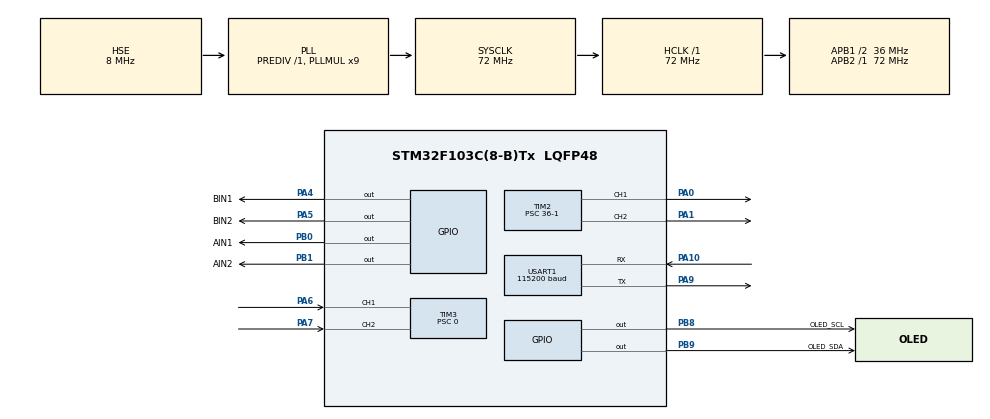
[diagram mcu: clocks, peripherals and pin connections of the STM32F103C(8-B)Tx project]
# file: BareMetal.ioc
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Dma.Request0=USART1_TX
Dma.USART1_TX.0.Direction=DMA_MEMORY_TO_PERIPH
Dma.USART1_TX.0.Instance=DMA1_Channel4
Dma.USART1_TX.0.MemDataAlignment=DMA_MDATAALIGN_BYTE
Dma.USART1_TX.0.MemInc=DMA_MINC_ENABLE
Dma.USART1_TX.0.Mode=DMA_NORMAL
Dma.USART1_TX.0.PeriphDataAlignment=DMA_PDATAALIGN_BYTE
Dma.USART1_TX.0.PeriphInc=DMA_PINC_DISABLE
Dma.USART1_TX.0.Priority=DMA_PRIORITY_LOW
Mcu.Family=STM32F1
Mcu.Name=STM32F103C(8-B)Tx
Mcu.Package=LQFP48
NVIC.DMA1_Channel4_IRQn=true\:0\:0\:false\:false\:true\:false\:true\:true
NVIC.PriorityGroup=NVIC_PRIORITYGROUP_4
NVIC.TIM4_IRQn=true\:0\:0\:false\:false\:true\:false\:true\:true
NVIC.USART1_IRQn=true\:0\:0\:false\:false\:true\:true\:true\:true
PA0-WKUP.Signal=S_TIM2_CH1_ETR
PA1.Signal=S_TIM2_CH2
PA10.Mode=Asynchronous
PA10.Signal=USART1_RX
PA13.Mode=Serial_Wire
PA13.Signal=SYS_JTMS-SWDIO
PA14.Mode=Serial_Wire
PA14.Signal=SYS_JTCK-SWCLK
PA4.GPIO_Label=BIN1
PA4.PinState=GPIO_PIN_RESET
PA4.Signal=GPIO_Output
PA5.GPIO_Label=BIN2
PA5.PinState=GPIO_PIN_RESET
PA5.Signal=GPIO_Output
PA6.Signal=S_TIM3_CH1
PA7.Signal=S_TIM3_CH2
PA9.Mode=Asynchronous
PA9.Signal=USART1_TX
PB0.GPIO_Label=AIN1
PB0.PinState=GPIO_PIN_RESET
PB0.Signal=GPIO_Output
PB1.GPIO_Label=AIN2
PB1.PinState=GPIO_PIN_RESET
PB1.Signal=GPIO_Output
PB8.GPIO_Label=OLED_SCL
PB8.PinState=GPIO_PIN_SET
PB8.Signal=GPIO_Output
PB9.GPIO_Label=OLED_SDA
PB9.PinState=GPIO_PIN_SET
PB9.Signal=GPIO_Output
PD0-OSC_IN.Mode=HSE-External-Oscillator
PD0-OSC_IN.Signal=RCC_OSC_IN
PD1-OSC_OUT.Mode=HSE-External-Oscillator
PD1-OSC_OUT.Signal=RCC_OSC_OUT
ProjectManager.HeapSize=0x200
ProjectManager.StackSize=0x400
ProjectManager.TargetToolchain=MDK-ARM V5.32
RCC.AHBFreq_Value=72000000
RCC.APB1CLKDivider=RCC_HCLK_DIV2
RCC.APB1Freq_Value=36000000
RCC.APB1TimFreq_Value=72000000
RCC.APB2Freq_Value=72000000
RCC.APB2TimFreq_Value=72000000
RCC.HCLKFreq_Value=72000000
RCC.PLLMUL=RCC_PLL_MUL9
RCC.PLLSourceVirtual=RCC_PLLSOURCE_HSE
RCC.SYSCLKFreq_VALUE=72000000
RCC.SYSCLKSource=RCC_SYSCLKSOURCE_PLLCLK
RCC.USBFreq_Value=72000000
SH.S_TIM2_CH1_ETR.0=TIM2_CH1,PWM Generation1 CH1
SH.S_TIM2_CH2.0=TIM2_CH2,PWM Generation2 CH2
SH.S_TIM3_CH1.0=TIM3_CH1,Encoder_Interface
SH.S_TIM3_CH2.0=TIM3_CH2,Encoder_Interface
TIM2.AutoReloadPreload=TIM_AUTORELOAD_PRELOAD_ENABLE
TIM2.Channel-PWM\ Generation1\ CH1=TIM_CHANNEL_1
TIM2.Channel-PWM\ Generation2\ CH2=TIM_CHANNEL_2
TIM2.OCMode_PWM-PWM\ Generation1\ CH1=TIM_OCMODE_PWM1
TIM2.OCMode_PWM-PWM\ Generation2\ CH2=TIM_OCMODE_PWM1
TIM2.Period=200-1
TIM2.Prescaler=36-1
TIM2.Pulse-PWM\ Generation1\ CH1=0
TIM2.Pulse-PWM\ Generation2\ CH2=0
TIM3.ClockDivision=TIM_CLOCKDIVISION_DIV1
TIM3.EncoderMode=TIM_ENCODERMODE_TI12
TIM3.Period=65535
TIM3.Prescaler=0
TIM4.AutoReloadPreload=TIM_AUTORELOAD_PRELOAD_DISABLE
TIM4.ClockDivision=TIM_CLOCKDIVISION_DIV1
TIM4.Period=1000-1
TIM4.Prescaler=72-1
USART1.BaudRate=115200
USART1.VirtualMode=VM_ASYNC
VP_TIM2_VS_ClockSourceINT.Mode=Internal
VP_TIM4_VS_ClockSourceINT.Mode=Internal
board=custom

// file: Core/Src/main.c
/* USER CODE BEGIN Header */
/**
  ******************************************************************************
  * @file           : main.c
  * @brief          : Main program body
  ******************************************************************************
  * @attention
  * 项目: 裸机任务调度框架 (CubeMX版)
  * 功能: 编码器读取 + 电机PID速度闭环 + OLED显示 + VOFA+调参
  ******************************************************************************
  */
/* USER CODE END Header */
#include "main.h"

/* USER CODE BEGIN Includes */
#include "sys.h"
#include "encoder.h"
#include "pid_demo.h"
#include "uart_vofa.h"
#include "motor.h"
#include "OLED_IIC_Config.h"
#include "OLED_Function.h"
#include "MyDelay.h"
/* USER CODE END Includes */

TIM_HandleTypeDef htim2;
TIM_HandleTypeDef htim3;
TIM_HandleTypeDef htim4;

UART_HandleTypeDef huart1;
DMA_HandleTypeDef hdma_usart1_tx;

void SystemClock_Config(void);
static void MX_GPIO_Init(void);
static void MX_DMA_Init(void);
static void MX_TIM2_Init(void);
static void MX_TIM3_Init(void);
static void MX_TIM4_Init(void);
static void MX_USART1_UART_Init(void);
/* USER CODE BEGIN PFP */
void HAL_TIM_MspPostInit(TIM_HandleTypeDef* htim);  /* stm32f1xx_hal_msp.c 中定义 */
/* USER CODE END PFP */

int main(void)
{

  /* MCU Configuration--------------------------------------------------------*/

  /* Reset of all peripherals, Initializes the Flash interface and the Systick. */
  HAL_Init();

  /* Configure the system clock */
  SystemClock_Config();

  /* Initialize all configured peripherals */
  MX_GPIO_Init();
  MX_DMA_Init();
  MX_TIM2_Init();
  MX_TIM3_Init();
  MX_TIM4_Init();
  MX_USART1_UART_Init();
  /* USER CODE BEGIN 2 */

  /* 启动 PWM 输出 */
  HAL_TIM_PWM_Start(&htim2, TIM_CHANNEL_1);
  HAL_TIM_PWM_Start(&htim2, TIM_CHANNEL_2);

  /* 启动编码器 */
  HAL_TIM_Encoder_Start(&htim3, TIM_CHANNEL_ALL);
  __HAL_TIM_SET_COUNTER(&htim3, 0);

  /* 启动任务调度定时器中断 */
  HAL_TIM_Base_Start_IT(&htim4);

  /* 系统初始化（应用层：PID/VOFA/OLED） */
  SysInit();

  /* USER CODE END 2 */

  /* Infinite loop */
  /* USER CODE BEGIN WHILE */
  SysRun();  /* 任务调度死循环（内部 while(1)） */
  while (1)
  {
    /* USER CODE END WHILE */

  }
}

void SystemClock_Config(void)
{
  RCC_OscInitTypeDef RCC_OscInitStruct = {0};
  RCC_ClkInitTypeDef RCC_ClkInitStruct = {0};

  /** Initializes the RCC Oscillators according to the specified parameters
  * in the RCC_OscInitTypeDef structure.
  */
  RCC_OscInitStruct.OscillatorType = RCC_OSCILLATORTYPE_HSE;
  RCC_OscInitStruct.HSEState = RCC_HSE_ON;
  RCC_OscInitStruct.HSEPredivValue = RCC_HSE_PREDIV_DIV1;
  RCC_OscInitStruct.HSIState = RCC_HSI_ON;
  RCC_OscInitStruct.PLL.PLLState = RCC_PLL_ON;
  RCC_OscInitStruct.PLL.PLLSource = RCC_PLLSOURCE_HSE;
  RCC_OscInitStruct.PLL.PLLMUL = RCC_PLL_MUL9;
  if (HAL_RCC_OscConfig(&RCC_OscInitStruct) != HAL_OK)
  {
    Error_Handler();
  }

  /** Initializes the CPU, AHB and APB buses clocks
  */
  RCC_ClkInitStruct.ClockType = RCC_CLOCKTYPE_HCLK|RCC_CLOCKTYPE_SYSCLK
                              |RCC_CLOCKTYPE_PCLK1|RCC_CLOCKTYPE_PCLK2;
  RCC_ClkInitStruct.SYSCLKSource = RCC_SYSCLKSOURCE_PLLCLK;
  RCC_ClkInitStruct.AHBCLKDivider = RCC_SYSCLK_DIV1;
  RCC_ClkInitStruct.APB1CLKDivider = RCC_HCLK_DIV2;
  RCC_ClkInitStruct.APB2CLKDivider = RCC_HCLK_DIV1;

  if (HAL_RCC_ClockConfig(&RCC_ClkInitStruct, FLASH_LATENCY_2) != HAL_OK)
  {
    Error_Handler();
  }
}

static void MX_TIM2_Init(void)
{

  TIM_ClockConfigTypeDef sClockSourceConfig = {0};
  TIM_MasterConfigTypeDef sMasterConfig = {0};
  TIM_OC_InitTypeDef sConfigOC = {0};

  htim2.Instance = TIM2;
  htim2.Init.Prescaler = 1-1;        // 72MHz / 1 / 7200 = 10kHz PWM
  htim2.Init.CounterMode = TIM_COUNTERMODE_UP;
  htim2.Init.Period = 7200-1;        // ARR=7199，7200级分辨率，低速更精细
  htim2.Init.ClockDivision = TIM_CLOCKDIVISION_DIV1;
  htim2.Init.AutoReloadPreload = TIM_AUTORELOAD_PRELOAD_ENABLE;
  if (HAL_TIM_Base_Init(&htim2) != HAL_OK)
  {
    Error_Handler();
  }
  sClockSourceConfig.ClockSource = TIM_CLOCKSOURCE_INTERNAL;
  if (HAL_TIM_ConfigClockSource(&htim2, &sClockSourceConfig) != HAL_OK)
  {
    Error_Handler();
  }
  if (HAL_TIM_PWM_Init(&htim2) != HAL_OK)
  {
    Error_Handler();
  }
  sMasterConfig.MasterOutputTrigger = TIM_TRGO_RESET;
  sMasterConfig.MasterSlaveMode = TIM_MASTERSLAVEMODE_DISABLE;
  if (HAL_TIMEx_MasterConfigSynchronization(&htim2, &sMasterConfig) != HAL_OK)
  {
    Error_Handler();
  }
  sConfigOC.OCMode = TIM_OCMODE_PWM1;
  sConfigOC.Pulse = 0;
  sConfigOC.OCPolarity = TIM_OCPOLARITY_HIGH;
  sConfigOC.OCFastMode = TIM_OCFAST_DISABLE;
  if (HAL_TIM_PWM_ConfigChannel(&htim2, &sConfigOC, TIM_CHANNEL_1) != HAL_OK)
  {
    Error_Handler();
  }
  if (HAL_TIM_PWM_ConfigChannel(&htim2, &sConfigOC, TIM_CHANNEL_2) != HAL_OK)
  {
    Error_Handler();
  }
  HAL_TIM_MspPostInit(&htim2);

}

static void MX_TIM3_Init(void)
{

  TIM_Encoder_InitTypeDef sConfig = {0};
  TIM_MasterConfigTypeDef sMasterConfig = {0};

  htim3.Instance = TIM3;
  htim3.Init.Prescaler = 0;
  htim3.Init.CounterMode = TIM_COUNTERMODE_UP;
  htim3.Init.Period = 65535;
  htim3.Init.ClockDivision = TIM_CLOCKDIVISION_DIV1;
  htim3.Init.AutoReloadPreload = TIM_AUTORELOAD_PRELOAD_DISABLE;
  sConfig.EncoderMode = TIM_ENCODERMODE_TI12;
  sConfig.IC1Polarity = TIM_ICPOLARITY_RISING;
  sConfig.IC1Selection = TIM_ICSELECTION_DIRECTTI;
  sConfig.IC1Prescaler = TIM_ICPSC_DIV1;
  sConfig.IC1Filter = 0;
  sConfig.IC2Polarity = TIM_ICPOLARITY_RISING;
  sConfig.IC2Selection = TIM_ICSELECTION_DIRECTTI;
  sConfig.IC2Prescaler = TIM_ICPSC_DIV1;
  sConfig.IC2Filter = 0;
  if (HAL_TIM_Encoder_Init(&htim3, &sConfig) != HAL_OK)
  {
    Error_Handler();
  }
  sMasterConfig.MasterOutputTrigger = TIM_TRGO_RESET;
  sMasterConfig.MasterSlaveMode = TIM_MASTERSLAVEMODE_DISABLE;
  if (HAL_TIMEx_MasterConfigSynchronization(&htim3, &sMasterConfig) != HAL_OK)
  {
    Error_Handler();
  }

}

static void MX_TIM4_Init(void)
{

  TIM_ClockConfigTypeDef sClockSourceConfig = {0};
  TIM_MasterConfigTypeDef sMasterConfig = {0};

  htim4.Instance = TIM4;
  htim4.Init.Prescaler = 72-1;
  htim4.Init.CounterMode = TIM_COUNTERMODE_UP;
  htim4.Init.Period = 1000-1;
  htim4.Init.ClockDivision = TIM_CLOCKDIVISION_DIV1;
  htim4.Init.AutoReloadPreload = TIM_AUTORELOAD_PRELOAD_DISABLE;
  if (HAL_TIM_Base_Init(&htim4) != HAL_OK)
  {
    Error_Handler();
  }
  sClockSourceConfig.ClockSource = TIM_CLOCKSOURCE_INTERNAL;
  if (HAL_TIM_ConfigClockSource(&htim4, &sClockSourceConfig) != HAL_OK)
  {
    Error_Handler();
  }
  sMasterConfig.MasterOutputTrigger = TIM_TRGO_RESET;
  sMasterConfig.MasterSlaveMode = TIM_MASTERSLAVEMODE_DISABLE;
  if (HAL_TIMEx_MasterConfigSynchronization(&htim4, &sMasterConfig) != HAL_OK)
  {
    Error_Handler();
  }

}

static void MX_USART1_UART_Init(void)
{

  huart1.Instance = USART1;
  huart1.Init.BaudRate = 115200;
  huart1.Init.WordLength = UART_WORDLENGTH_8B;
  huart1.Init.StopBits = UART_STOPBITS_1;
  huart1.Init.Parity = UART_PARITY_NONE;
  huart1.Init.Mode = UART_MODE_TX_RX;
  huart1.Init.HwFlowCtl = UART_HWCONTROL_NONE;
  huart1.Init.OverSampling = UART_OVERSAMPLING_16;
  if (HAL_UART_Init(&huart1) != HAL_OK)
  {
    Error_Handler();
  }

}

static void MX_DMA_Init(void)
{

  /* DMA controller clock enable */
  __HAL_RCC_DMA1_CLK_ENABLE();

  /* DMA interrupt init */
  /* DMA1_Channel4_IRQn interrupt configuration */
  HAL_NVIC_SetPriority(DMA1_Channel4_IRQn, 0, 0);
  HAL_NVIC_EnableIRQ(DMA1_Channel4_IRQn);

}

static void MX_GPIO_Init(void)
{
  GPIO_InitTypeDef GPIO_InitStruct = {0};

  /* GPIO Ports Clock Enable */
  __HAL_RCC_GPIOD_CLK_ENABLE();
  __HAL_RCC_GPIOA_CLK_ENABLE();
  __HAL_RCC_GPIOB_CLK_ENABLE();

  /*Configure GPIO pin Output Level */
  HAL_GPIO_WritePin(GPIOA, BIN1_Pin|BIN2_Pin, GPIO_PIN_RESET);

  /*Configure GPIO pin Output Level */
  HAL_GPIO_WritePin(GPIOB, AIN1_Pin|AIN2_Pin, GPIO_PIN_RESET);

  /*Configure GPIO pin Output Level */
  HAL_GPIO_WritePin(GPIOB, OLED_SCL_Pin|OLED_SDA_Pin, GPIO_PIN_SET);

  /*Configure GPIO pins : BIN1_Pin BIN2_Pin */
  GPIO_InitStruct.Pin = BIN1_Pin|BIN2_Pin;
  GPIO_InitStruct.Mode = GPIO_MODE_OUTPUT_PP;
  GPIO_InitStruct.Pull = GPIO_NOPULL;
  GPIO_InitStruct.Speed = GPIO_SPEED_FREQ_LOW;
  HAL_GPIO_Init(GPIOA, &GPIO_InitStruct);

  /*Configure GPIO pins : AIN1_Pin AIN2_Pin OLED_SCL_Pin OLED_SDA_Pin */
  GPIO_InitStruct.Pin = AIN1_Pin|AIN2_Pin|OLED_SCL_Pin|OLED_SDA_Pin;
  GPIO_InitStruct.Mode = GPIO_MODE_OUTPUT_PP;
  GPIO_InitStruct.Pull = GPIO_NOPULL;
  GPIO_InitStruct.Speed = GPIO_SPEED_FREQ_LOW;
  HAL_GPIO_Init(GPIOB, &GPIO_InitStruct);

}

void Error_Handler(void)
{
  __disable_irq();
  while (1)
  {
  }
}
